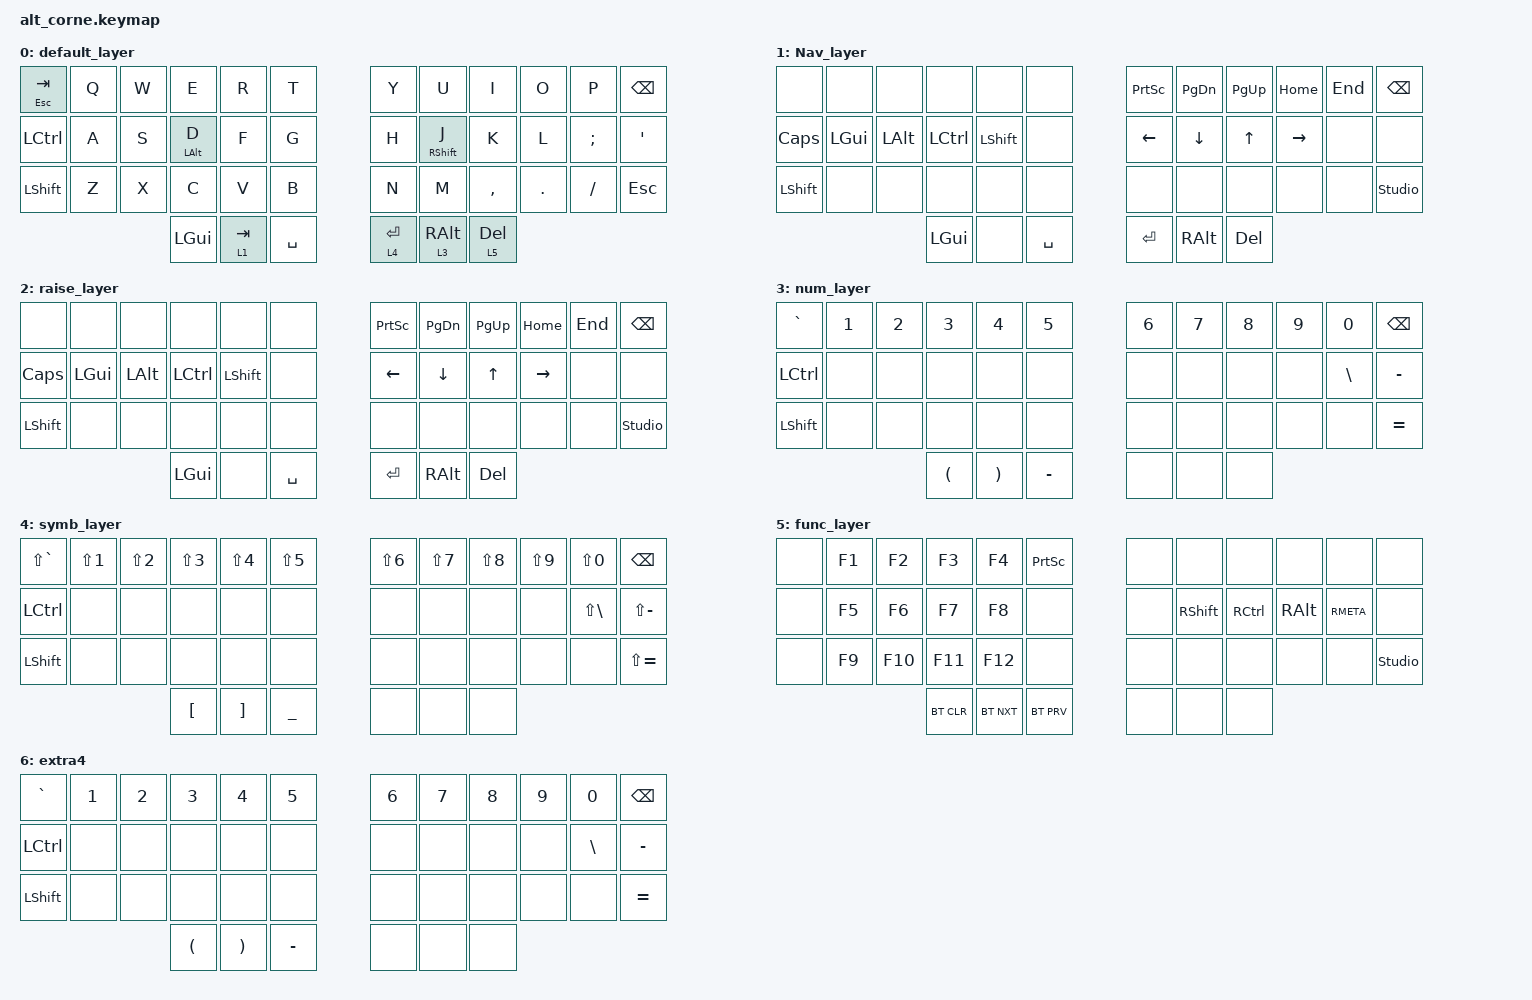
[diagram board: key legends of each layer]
/*
 * Copyright (c) 2020 The ZMK Contributors
 *
 * SPDX-License-Identifier: MIT
 */

#include <behaviors.dtsi>
#include <dt-bindings/zmk/bt.h>
#include <dt-bindings/zmk/keys.h>

/ {
    behaviors {
        hm: homerow_mods {
            compatible = "zmk,behavior-hold-tap";
            #binding-cells = <2>;
            tapping-term-ms = <200>;
            quick-tap-ms = <0>;
            flavor = "tap-preferred";
            bindings = <&kp>, <&kp>;
        };
    };
    keymap {
        compatible = "zmk,keymap";

        default_layer {
            // -----------------------------------------------------------------------------------------
            // |  TAB |  Q  |  W  |  E  |  R  |  T  |   |  Y  |  U   |  I  |  O  |  P  | BSPC |
            // | CTRL |  A  |  S  |  D  |  F  |  G  |   |  H  |  J   |  K  |  L  |  ;  |  '   |
            // | SHFT |  Z  |  X  |  C  |  V  |  B  |   |  N  |  M   |  ,  |  .  |  /  | ESC  |
            //                    | GUI | TAB | SPC |   | ENT | LANG | DEL |

            bindings = <
&mt ESC TAB  &kp Q  &kp W  &kp E           &kp R      &kp T        &kp Y        &kp U              &kp I      &kp O    &kp P     &kp BSPC
&kp LCTRL    &kp A  &kp S  &hm LEFT_ALT D  &kp F      &kp G        &kp H        &hm RIGHT_SHIFT J  &kp K      &kp L    &kp SEMI  &kp SQT
&kp LSHFT    &kp Z  &kp X  &kp C           &kp V      &kp B        &kp N        &kp M              &kp COMMA  &kp DOT  &kp FSLH  &kp ESC
                           &kp LGUI        &lt 1 TAB  &kp SPACE    &lt 4 ENTER  &lt 3 RALT         &lt 5 DEL
            >;
        };

        Nav_layer {
            // -----------------------------------------------------------------------------------------
            // |  TAB |  1  |  2  |  3  |  4  |  5  |   | PRT | PDW | PUP | HOM | END | BSPC |
            // |  CAP | GUI | ALT | CTL | SFT |     |   | LFT | DWN |  UP | RGT |     |      |
            // | SHFT |     |     |     |     |     |   |     |     |     |     |     | ZMK  |
            //                    | GUI |     | SPC |   | ENT | ALT | DEL |

            bindings = <
&none           &none     &none         &none      &none      &none        &kp PRINTSCREEN  &kp PAGE_DOWN   &kp PAGE_UP   &kp HOME         &kp END  &kp BACKSPACE
&kp CAPSLOCK    &kp LGUI  &kp LEFT_ALT  &kp LCTRL  &kp LSHFT  &none        &kp LEFT_ARROW   &kp DOWN_ARROW  &kp UP_ARROW  &kp RIGHT_ARROW   &none    &none
&kp LEFT_SHIFT   &none     &none         &none      &none      &none        &none            &none           &none         &none            &none   &studio_unlock
                                        &kp LGUI   &none      &kp SPACE    &kp RET          &kp RALT        &kp DELETE
            >;
        };

        raise_layer {
            // -----------------------------------------------------------------------------------------
            // |  TAB |     |     |     |     |     |   | PRT | PDW | PUP | HOM | END | BSPC |
            // |  CAP | GUI | ALT | CTL | SFT |     |   | LFT | DWN |  UP | RGT |     |      |
            // | SHFT |     |     |     |     |     |   |     |     |     |     |     | ZMK  |
            //                    | GUI |     | SPC |   | ENT | ALT | DEL |

            bindings = <
&none           &none     &none         &none      &none      &none        &kp PRINTSCREEN  &kp PAGE_DOWN   &kp PAGE_UP   &kp HOME         &kp END  &kp BACKSPACE
&kp CAPSLOCK    &kp LGUI  &kp LEFT_ALT  &kp LCTRL  &kp LSHFT  &none        &kp LEFT_ARROW   &kp DOWN_ARROW  &kp UP_ARROW  &kp RIGHT_ARROW   &none    &none
&kp LEFT_SHIFT   &none     &none         &none      &none      &none        &none            &none           &none         &none            &none   &studio_unlock
                                        &kp LGUI   &none      &kp SPACE    &kp RET          &kp RALT        &kp DELETE
            >;
        };

        num_layer {
            // -----------------------------------------------------------------------------------------
            // |   `  |  1  |  2  |  3  |  4  |  5  |   |  6  |  7  |  8  |  9  |  0  | BSPC |
            // | CTRL |     |     |     |     |     |   |     |     |     |     |  \  |   -  |
            // | SHFT |     |     |     |     |     |   |     |     |     |     |     |   =  |
            //                    |  (  |  )  |  -  |   |     |     |     |

            bindings = <
&kp GRAVE       &kp N1  &kp N2  &kp N3                &kp N4                 &kp N5       &kp N6  &kp N7  &kp N8  &kp N9  &kp N0         &kp BACKSPACE
&kp LCTRL        &none   &none   &none                 &none                  &none        &none   &none   &none   &none  &kp BACKSLASH  &kp MINUS
&kp LEFT_SHIFT   &none   &none   &none                 &none                  &none        &none   &none   &none   &none   &none         &kp EQUAL
                                &kp LEFT_PARENTHESIS  &kp RIGHT_PARENTHESIS  &kp MINUS     &none   &none   &none
            >;
        };

        symb_layer {
            // -----------------------------------------------------------------------------------------
            // |   ~  |  !  |  @  |  #  |  $  |  %  |   |  ^  |  &  |  *  |  (  |  )  | BSPC |
            // | CTRL |     |     |     |     |     |   |     |     |     |     |  |  |   _  |
            // | SHFT |     |     |     |     |     |   |     |     |     |     |     |   +  |
            //                    |  [  |  ]  |  _  |   |     |     |     |

            bindings = <
&kp LS(GRAVE)   &kp LS(N1)  &kp LS(N2)  &kp LS(N3)        &kp LS(N4)         &kp LS(N5)        &kp LS(N6)  &kp LS(N7)  &kp LS(N8)  &kp LS(N9)  &kp LS(N0)         &kp BACKSPACE
&kp LCTRL        &none       &none       &none             &none              &none             &none       &none       &none       &none      &kp LS(BACKSLASH)  &kp LS(MINUS)
&kp LEFT_SHIFT   &none       &none       &none             &none              &none             &none       &none       &none       &none       &none             &kp LS(EQUAL)
                                        &kp LEFT_BRACKET  &kp RIGHT_BRACKET  &kp UNDERSCORE     &none       &none       &none
            >;
        };

        func_layer {
            // -----------------------------------------------------------------------------------------
            // |      | F1  | F2  | F3  | F4  | PRT |   |     |     |     |     |     |      |
            // |      | F5  | F6  | F7  | F8  |     |   |     | SFT | CTL | ALT | GUI |      |
            // |      | F9  | F10 | F11 | F12 |     |   |     |     |     |     |     | ZMK  |
            //                    | BTC | BTN | BTP |   |     |     |     |

            bindings = <
 &none  &kp F1  &kp F2   &kp F3      &kp F4      &kp PRINTSCREEN     &none   &none       &none      &none          &none      &none
 &none  &kp F5  &kp F6   &kp F7      &kp F8       &none              &none  &kp RSHIFT  &kp RCTRL  &kp RIGHT_ALT  &kp RMETA   &none
 &none  &kp F9  &kp F10  &kp F11     &kp F12      &none              &none   &none       &none      &none          &none     &studio_unlock
                         &bt BT_CLR  &bt BT_NXT  &bt BT_PRV          &none   &none       &none
            >;
        };

        extra4 {
            // -----------------------------------------------------------------------------------------
            // |      |     |     |     |     |     |   |     |     |     |     |     |      |
            // |      |     |     |     |     |     |   |     |     |     |     |     |      |
            // |      |     |     |     |     |     |   |     |     |     |     |     |      |
            //                    |     |     |     |   |     |     |     |

            bindings = <
&kp GRAVE       &kp N1  &kp N2  &kp N3                &kp N4                 &kp N5       &kp N6  &kp N7  &kp N8  &kp N9  &kp N0         &kp BACKSPACE
&kp LCTRL        &none   &none   &none                 &none                  &none        &none   &none   &none   &none  &kp BACKSLASH  &kp MINUS
&kp LEFT_SHIFT   &none   &none   &none                 &none                  &none        &none   &none   &none   &none   &none         &kp EQUAL
                                &kp LEFT_PARENTHESIS  &kp RIGHT_PARENTHESIS  &kp MINUS     &none   &none   &none
            >;
        };
    };

};
